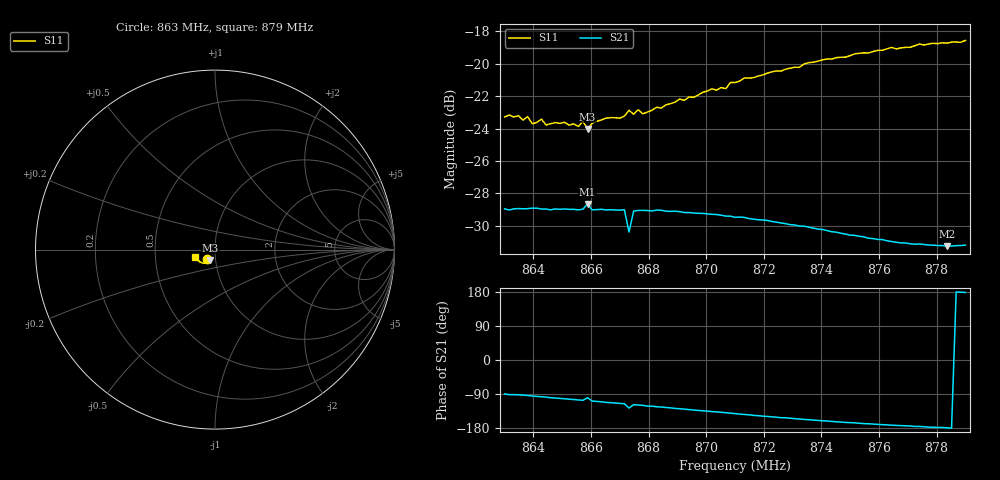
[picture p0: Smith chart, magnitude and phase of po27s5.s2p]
# HZ S RI R 50
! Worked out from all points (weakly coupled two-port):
!   101 points, 863 MHz to 879 MHz, reference 50 ohm
!   highest |S21| = -28.66 dB at 865.88 MHz (marker M1); lowest = -31.3 dB at 878.36 MHz (marker M2)
!   lowest |S11| = -24.0 dB at 865.88 MHz (marker M3), VSWR 1.13, Z = 47.2 - j5.44 ohm
!   |S11| at or under -10 dB: start of sweep to end of sweep
!   S12 and S22 are empty: the file has one direction only
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8.63e8  -0.0422 -0.0539  0.000291 -0.0356  0 0  0 0
8.6364e8  -0.0413 -0.0527  -0.00166 -0.0356  0 0  0 0
8.638e8  -0.0434 -0.0532  -0.00227 -0.0356  0 0  0 0
8.6396e8  -0.0398 -0.0517  -0.00313 -0.0357  0 0  0 0
8.6428e8  -0.0395 -0.0547  -0.00433 -0.0353  0 0  0 0
8.6444e8  -0.0379 -0.0525  -0.00488 -0.0352  0 0  0 0
8.6508e8  -0.0367 -0.0548  -0.00758 -0.0348  0 0  0 0
8.6556e8  -0.0351 -0.0536  -0.00941 -0.0341  0 0  0 0
8.6572e8  -0.0341 -0.057  -0.0101 -0.0341  0 0  0 0
8.6588e8  -0.0256 -0.0574  -0.00608 -0.0364  0 0  0 0
8.6604e8  -0.0339 -0.056  -0.0112 -0.0336  0 0  0 0
8.6716e8  -0.0338 -0.0601  -0.0152 -0.032  0 0  0 0
8.6732e8  -0.0353 -0.0626  -0.0181 -0.0242  0 0  0 0
8.6748e8  -0.0335 -0.0613  -0.0164 -0.031  0 0  0 0
8.6764e8  -0.0348 -0.0631  -0.017 -0.0309  0 0  0 0
8.678e8  -0.0336 -0.0615  -0.0175 -0.0306  0 0  0 0
8.6844e8  -0.0348 -0.0641  -0.0198 -0.0292  0 0  0 0
8.71e8  -0.0471 -0.0737  -0.0262 -0.0209  0 0  0 0
8.7372e8  -0.0675 -0.0753  -0.0289 -0.0114  0 0  0 0
8.7644e8  -0.0933 -0.0627  -0.028 -0.00392  0 0  0 0
8.7836e8  -0.1063 -0.0457  -0.0273 -0.000558  0 0  0 0
8.79e8  -0.1112 -0.0398  -0.0275 0.00087  0 0  0 0
